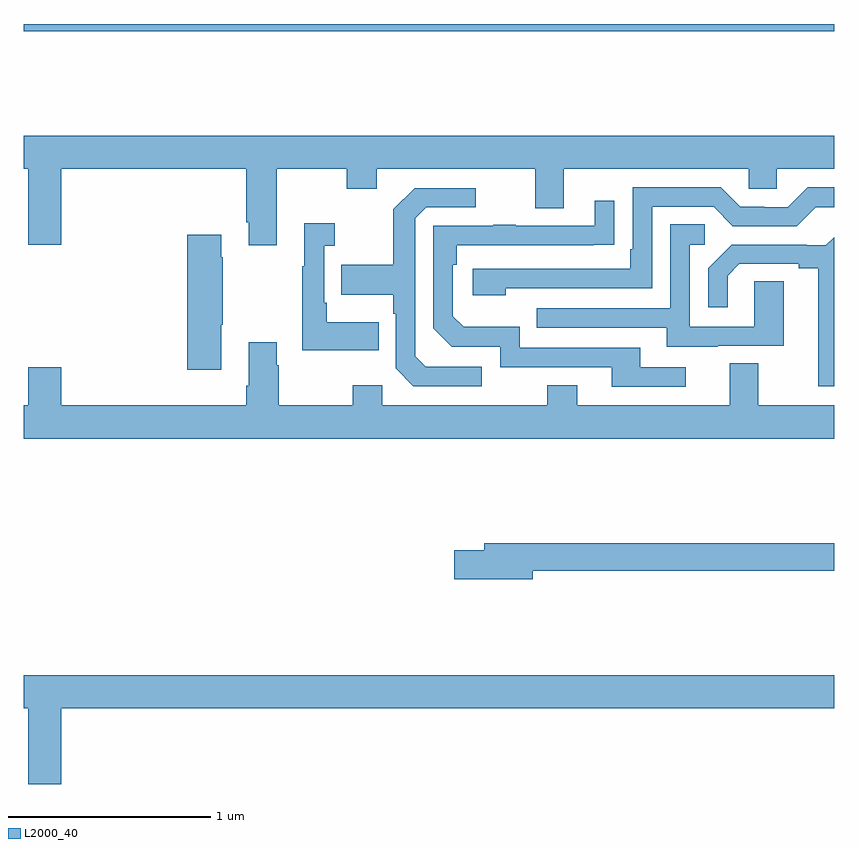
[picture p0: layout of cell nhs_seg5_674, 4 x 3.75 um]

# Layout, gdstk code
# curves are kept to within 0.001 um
import gdstk
lib = gdstk.Library(unit=1e-6, precision=1e-09)
def R(c, l, rs):  # rectangles x0, y0, x1, y1
    for r in rs: c.add(gdstk.rectangle(r[:2], r[2:], *l))
def P(c, l, *ps):  # polygons
    for p in ps: c.add(gdstk.Polygon(p, *l))
L2000_40 = (2000, 40)

nhs_seg5_674 = lib.new_cell('nhs_seg5_674')
R(nhs_seg5_674, L2000_40, [(153,866.764,157,866.799)])
P(nhs_seg5_674, L2000_40, [(154.249,866.084),(154.594,866.084),(154.594,865.985),(154.741,865.985),(154.741,866.084),(155.525,866.084),(155.525,865.89),(155.665,865.89),(155.665,866.084),(156.579,866.084),(156.579,865.986),(156.717,865.986),(156.717,866.084),(157,866.084),(157,866.248),(153,866.248),(153,866.084),(153.02,866.084),(153.02,865.71),(153.184,865.71),(153.184,866.084),(154.097,866.084),(154.097,865.819),(154.109,865.819),(154.109,865.707),(154.249,865.707)],
  [(155.378,865.494),(156.102,865.494),(156.102,865.896),(156.405,865.896),(156.501,865.8),(156.816,865.8),(156.909,865.893),(157,865.893),(157,865.993),(156.871,865.993),(156.771,865.893),(156.656,865.893),(156.656,865.896),(156.537,865.896),(156.441,865.992),(156.006,865.992),(156.006,865.687),(155.993,865.687),(155.993,865.59),(155.217,865.59),(155.217,865.46),(155.378,865.46)],
  [(155.26,865.107),(154.983,865.107),(154.932,865.158),(154.932,865.839),(154.986,865.893),(155.23,865.893),(155.23,865.989),(154.929,865.989),(154.824,865.883),(154.824,865.611),(154.567,865.611),(154.567,865.463),(154.824,865.463),(154.824,865.367),(154.836,865.367),(154.836,865.098),(154.923,865.011),(155.26,865.011)],
  [(156.268,865.104),(156.043,865.104),(156.043,865.2),(155.448,865.2),(155.448,865.303),(155.171,865.303),(155.118,865.356),(155.118,865.61),(155.138,865.61),(155.138,865.707),(155.915,865.708),(155.915,865.927),(155.819,865.927),(155.819,865.803),(155.429,865.803),(155.429,865.808),(155.317,865.808),(155.317,865.803),(155.022,865.803),(155.022,865.296),(155.112,865.206),(155.352,865.206),(155.352,865.104),(155.903,865.104),(155.903,865.008),(156.268,865.008)],
  [(154.751,865.327),(154.495,865.327),(154.495,865.423),(154.482,865.423),(154.482,865.703),(154.534,865.703),(154.534,865.816),(154.385,865.816),(154.385,865.603),(154.374,865.603),(154.374,865.187),(154.751,865.187)],
  [(156.427,865.209),(156.751,865.209),(156.751,865.529),(156.606,865.529),(156.606,865.305),(156.288,865.305),(156.288,865.71),(156.361,865.71),(156.361,865.811),(156.192,865.811),(156.192,865.395),(155.533,865.395),(155.533,865.299),(156.173,865.299),(156.173,865.205),(156.427,865.205)],
  [(153.973,865.315),(153.981,865.315),(153.981,865.646),(153.973,865.646),(153.973,865.759),(153.806,865.759),(153.806,865.092),(153.973,865.092)],
  [(157,865.747),(156.96,865.707),(156.866,865.707),(156.866,865.71),(156.494,865.71),(156.378,865.594),(156.378,865.401),(156.475,865.401),(156.475,865.557),(156.532,865.614),(156.827,865.614),(156.827,865.592),(156.923,865.592),(156.923,865.011),(157,865.011)],
  [(157,864.916),(156.625,864.916),(156.625,865.124),(156.485,865.124),(156.485,864.916),(155.731,864.916),(155.731,865.015),(155.584,865.015),(155.584,864.916),(154.77,864.916),(154.77,865.015),(154.624,865.015),(154.624,864.916),(154.257,864.916),(154.257,865.115),(154.249,865.115),(154.249,865.228),(154.109,865.228),(154.109,865.012),(154.097,865.012),(154.097,864.916),(153.184,864.916),(153.184,865.105),(153.02,865.105),(153.02,864.916),(153,864.916),(153,864.752),(157,864.752)],
  [(155.512,864.1),(157,864.1),(157,864.236),(155.273,864.236),(155.273,864.2),(155.124,864.2),(155.124,864.058),(155.512,864.058)],
  [(153.184,863.42),(157,863.42),(157,863.584),(153,863.584),(153,863.42),(153.02,863.42),(153.02,863.046),(153.184,863.046)])

lib.write_gds('nhs_seg5_674.gds')
